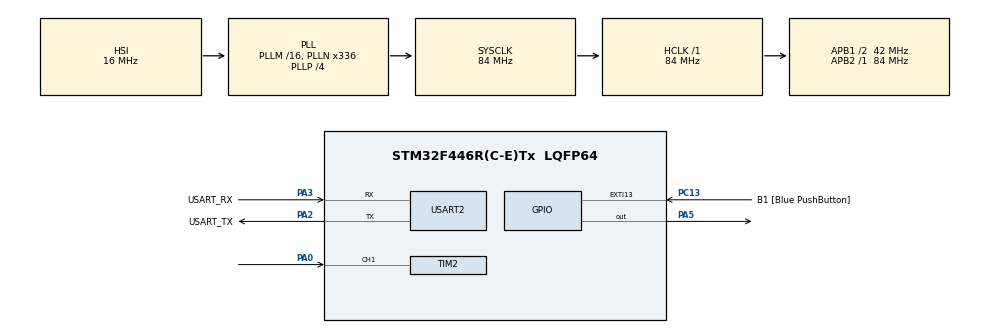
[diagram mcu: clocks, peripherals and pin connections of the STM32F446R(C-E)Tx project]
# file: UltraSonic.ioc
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Mcu.Family=STM32F4
Mcu.Name=STM32F446R(C-E)Tx
Mcu.Package=LQFP64
NVIC.PriorityGroup=NVIC_PRIORITYGROUP_0
NVIC.TIM2_IRQn=true\:0\:0\:false\:false\:true\:true\:true\:true
PA0-WKUP.Signal=S_TIM2_CH1_ETR
PA13.GPIO_Label=TMS
PA13.Mode=Serial_Wire
PA13.Signal=SYS_JTMS-SWDIO
PA14.GPIO_Label=TCK
PA14.Mode=Serial_Wire
PA14.Signal=SYS_JTCK-SWCLK
PA2.GPIO_Label=USART_TX
PA2.Mode=Asynchronous
PA2.Signal=USART2_TX
PA3.GPIO_Label=USART_RX
PA3.Mode=Asynchronous
PA3.Signal=USART2_RX
PA5.Signal=GPIO_Output
PB3.GPIO_Label=SWO
PB3.Signal=SYS_JTDO-SWO
PC13.GPIO_Label=B1 [Blue PushButton]
PC13.GPIO_ModeDefaultEXTI=GPIO_MODE_IT_FALLING
PC13.Signal=GPXTI13
PC14-OSC32_IN.Mode=LSE-External-Oscillator
PC14-OSC32_IN.Signal=RCC_OSC32_IN
PC15-OSC32_OUT.Mode=LSE-External-Oscillator
PC15-OSC32_OUT.Signal=RCC_OSC32_OUT
PH0-OSC_IN.Mode=HSE-External-Oscillator
PH0-OSC_IN.Signal=RCC_OSC_IN
PH1-OSC_OUT.Mode=HSE-External-Oscillator
PH1-OSC_OUT.Signal=RCC_OSC_OUT
ProjectManager.HeapSize=0x200
ProjectManager.StackSize=0x400
ProjectManager.TargetToolchain=STM32CubeIDE
RCC.48MHZClocksFreq_Value=84000000
RCC.AHBFreq_Value=84000000
RCC.APB1CLKDivider=RCC_HCLK_DIV2
RCC.APB1Freq_Value=42000000
RCC.APB1TimFreq_Value=84000000
RCC.APB2Freq_Value=84000000
RCC.APB2TimFreq_Value=84000000
RCC.CortexFreq_Value=84000000
RCC.FLatency-AdvancedSettings=FLASH_LATENCY_2
RCC.HCLKFreq_Value=84000000
RCC.HSE_VALUE=8000000
RCC.HSI_VALUE=16000000
RCC.PLLN=336
RCC.PLLP=RCC_PLLP_DIV4
RCC.SYSCLKFreq_VALUE=84000000
RCC.SYSCLKSource=RCC_SYSCLKSOURCE_PLLCLK
RCC.USBFreq_Value=168000000
RCC.VCOOutputFreq_Value=336000000
SH.S_TIM2_CH1_ETR.0=TIM2_CH1,Input_Capture1_from_TI1
TIM2.Channel-Input_Capture1_from_TI1=TIM_CHANNEL_1
TIM2.ICPolarity_CH1=TIM_INPUTCHANNELPOLARITY_BOTHEDGE
TIM2.Period=65535
TIM2.Prescaler=84-1
USART2.VirtualMode=VM_ASYNC
VP_TIM2_VS_ClockSourceINT.Mode=Internal
board=NUCLEO-F446RE

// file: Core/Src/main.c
/* USER CODE BEGIN Header */
/**
  ******************************************************************************
  * @file           : main.c
  * @brief          : Main program body
  ******************************************************************************
  * @attention
  *
  * Copyright (c) 2025 STMicroelectronics.
  * All rights reserved.
  *
  * This software is licensed under terms that can be found in the LICENSE file
  * in the root directory of this software component.
  * If no LICENSE file comes with this software, it is provided AS-IS.
  *
  ******************************************************************************
  */
/* USER CODE END Header */
#include "main.h"

/* USER CODE BEGIN Includes */
#include <string.h>
#include <stdio.h>
/* USER CODE END Includes */

TIM_HandleTypeDef htim2;

UART_HandleTypeDef huart2;

void SystemClock_Config(void);
static void MX_GPIO_Init(void);
static void MX_USART2_UART_Init(void);
static void MX_TIM2_Init(void);
/* USER CODE BEGIN PFP */
void UART_Send_Distance(uint8_t sensorIndex, uint16_t distance);
/* USER CODE END PFP */

/* USER CODE BEGIN 0 */
#define NUM_OF_ULTRASONIC 1

typedef enum {
    READY_TO_TRIGGER,
    WAITING_FOR_THE_PULSE,
    READY_TO_CALCULATE
} ULTRASONIC_State_t;

typedef enum {
    ULTRASONIC_0 = 0
} ULTRASONIC_Num_t;

uint32_t t1[NUM_OF_ULTRASONIC], t2[NUM_OF_ULTRASONIC];
uint16_t ultrasonicReadings[NUM_OF_ULTRASONIC];
uint8_t isFirstCapture[NUM_OF_ULTRASONIC] = {0};

ULTRASONIC_State_t ultrasonicState = READY_TO_TRIGGER;
ULTRASONIC_Num_t ultrasonicNum = ULTRASONIC_0;

// Pins: TRIG = PA5, ECHO = PA0
GPIO_TypeDef* TRIG_PORTS[NUM_OF_ULTRASONIC] = {GPIOA};
uint16_t TRIG_PINS[NUM_OF_ULTRASONIC] = {GPIO_PIN_5};

void triggerUltrasonic(ULTRASONIC_Num_t num) {
    HAL_GPIO_WritePin(TRIG_PORTS[num], TRIG_PINS[num], GPIO_PIN_SET);
    HAL_Delay(1); // 10 µs pulse
    HAL_GPIO_WritePin(TRIG_PORTS[num], TRIG_PINS[num], GPIO_PIN_RESET);

    //HAL_UART_Transmit(&huart2, (uint8_t *)"TRIG\r\n", 6, HAL_MAX_DELAY);
}

void HAL_TIM_IC_CaptureCallback(TIM_HandleTypeDef *htim) {
    if (htim->Channel == HAL_TIM_ACTIVE_CHANNEL_1) {
        //HAL_UART_Transmit(&huart2, (uint8_t *)"CAPTURE!\r\n", 10, HAL_MAX_DELAY);

        uint8_t current = ultrasonicNum;
        uint32_t value = HAL_TIM_ReadCapturedValue(htim, TIM_CHANNEL_1);

        if (!isFirstCapture[current]) {
            t1[current] = value;
            __HAL_TIM_SET_CAPTUREPOLARITY(htim, TIM_CHANNEL_1, TIM_INPUTCHANNELPOLARITY_FALLING);
            isFirstCapture[current] = 1;
        } else {
            t2[current] = value;
            __HAL_TIM_SET_CAPTUREPOLARITY(htim, TIM_CHANNEL_1, TIM_INPUTCHANNELPOLARITY_RISING);
            HAL_TIM_IC_Stop_IT(htim, TIM_CHANNEL_1);
            ultrasonicState = READY_TO_CALCULATE;
            isFirstCapture[current] = 0;
        }
    }
}

void UART_Send_Distance(uint8_t sensorIndex, uint16_t distance) {
    char msg[50];
    int len = sprintf(msg, "Sensor %d: %d cm\r\n", sensorIndex + 1, distance);
    HAL_UART_Transmit(&huart2, (uint8_t*)msg, len, HAL_MAX_DELAY);
}

void ULTRASONIC_Runnable(void) {
    switch (ultrasonicState) {
        case READY_TO_TRIGGER:
            triggerUltrasonic(ultrasonicNum);
            __HAL_TIM_SET_COUNTER(&htim2, 0);
            HAL_TIM_IC_Start_IT(&htim2, TIM_CHANNEL_1);
            ultrasonicState = WAITING_FOR_THE_PULSE;
            break;

        case WAITING_FOR_THE_PULSE:
            // Waiting for echo
            break;

        case READY_TO_CALCULATE: {
            uint32_t delta = (t2[ultrasonicNum] >= t1[ultrasonicNum]) ?
                (t2[ultrasonicNum] - t1[ultrasonicNum]) :
                (0xFFFF - t1[ultrasonicNum] + t2[ultrasonicNum]);

            ultrasonicReadings[ultrasonicNum] = (delta < 23200) ? (delta / 58) : 0;

            char debug_msg[50];
            sprintf(debug_msg, "Delta = %lu, Distance = %d\r\n", delta, ultrasonicReadings[ultrasonicNum]);
            HAL_UART_Transmit(&huart2, (uint8_t *)debug_msg, strlen(debug_msg), HAL_MAX_DELAY);

            UART_Send_Distance(ultrasonicNum, ultrasonicReadings[ultrasonicNum]);
            ultrasonicNum = ULTRASONIC_0;
            ultrasonicState = READY_TO_TRIGGER;
            break;
        }
    }
}
/* USER CODE END 0 */

int main(void)
{

  /* MCU Configuration--------------------------------------------------------*/

  /* Reset of all peripherals, Initializes the Flash interface and the Systick. */
  HAL_Init();

  /* Configure the system clock */
  SystemClock_Config();

  /* Initialize all configured peripherals */
  MX_GPIO_Init();
  MX_USART2_UART_Init();
  MX_TIM2_Init();
  /* USER CODE BEGIN 2 */
  HAL_UART_Transmit(&huart2, (uint8_t *)"UART Started. Waiting for ultrasonic...\r\n", 41, HAL_MAX_DELAY);
  /* USER CODE END 2 */

  /* Infinite loop */
  /* USER CODE BEGIN WHILE */
  while (1)
  {
	  ULTRASONIC_Runnable();
	  HAL_Delay(2000);
    /* USER CODE END WHILE */

  }
}

void SystemClock_Config(void)
{
  RCC_OscInitTypeDef RCC_OscInitStruct = {0};
  RCC_ClkInitTypeDef RCC_ClkInitStruct = {0};

  /** Configure the main internal regulator output voltage
  */
  __HAL_RCC_PWR_CLK_ENABLE();
  __HAL_PWR_VOLTAGESCALING_CONFIG(PWR_REGULATOR_VOLTAGE_SCALE3);

  /** Initializes the RCC Oscillators according to the specified parameters
  * in the RCC_OscInitTypeDef structure.
  */
  RCC_OscInitStruct.OscillatorType = RCC_OSCILLATORTYPE_HSI;
  RCC_OscInitStruct.HSIState = RCC_HSI_ON;
  RCC_OscInitStruct.HSICalibrationValue = RCC_HSICALIBRATION_DEFAULT;
  RCC_OscInitStruct.PLL.PLLState = RCC_PLL_ON;
  RCC_OscInitStruct.PLL.PLLSource = RCC_PLLSOURCE_HSI;
  RCC_OscInitStruct.PLL.PLLM = 16;
  RCC_OscInitStruct.PLL.PLLN = 336;
  RCC_OscInitStruct.PLL.PLLP = RCC_PLLP_DIV4;
  RCC_OscInitStruct.PLL.PLLQ = 2;
  RCC_OscInitStruct.PLL.PLLR = 2;
  if (HAL_RCC_OscConfig(&RCC_OscInitStruct) != HAL_OK)
  {
    Error_Handler();
  }

  /** Initializes the CPU, AHB and APB buses clocks
  */
  RCC_ClkInitStruct.ClockType = RCC_CLOCKTYPE_HCLK|RCC_CLOCKTYPE_SYSCLK
                              |RCC_CLOCKTYPE_PCLK1|RCC_CLOCKTYPE_PCLK2;
  RCC_ClkInitStruct.SYSCLKSource = RCC_SYSCLKSOURCE_PLLCLK;
  RCC_ClkInitStruct.AHBCLKDivider = RCC_SYSCLK_DIV1;
  RCC_ClkInitStruct.APB1CLKDivider = RCC_HCLK_DIV2;
  RCC_ClkInitStruct.APB2CLKDivider = RCC_HCLK_DIV1;

  if (HAL_RCC_ClockConfig(&RCC_ClkInitStruct, FLASH_LATENCY_2) != HAL_OK)
  {
    Error_Handler();
  }
}

static void MX_TIM2_Init(void)
{

  TIM_ClockConfigTypeDef sClockSourceConfig = {0};
  TIM_MasterConfigTypeDef sMasterConfig = {0};
  TIM_IC_InitTypeDef sConfigIC = {0};

  htim2.Instance = TIM2;
  htim2.Init.Prescaler = 84-1;
  htim2.Init.CounterMode = TIM_COUNTERMODE_UP;
  htim2.Init.Period = 65535;
  htim2.Init.ClockDivision = TIM_CLOCKDIVISION_DIV1;
  htim2.Init.AutoReloadPreload = TIM_AUTORELOAD_PRELOAD_DISABLE;
  if (HAL_TIM_Base_Init(&htim2) != HAL_OK)
  {
    Error_Handler();
  }
  sClockSourceConfig.ClockSource = TIM_CLOCKSOURCE_INTERNAL;
  if (HAL_TIM_ConfigClockSource(&htim2, &sClockSourceConfig) != HAL_OK)
  {
    Error_Handler();
  }
  if (HAL_TIM_IC_Init(&htim2) != HAL_OK)
  {
    Error_Handler();
  }
  sMasterConfig.MasterOutputTrigger = TIM_TRGO_RESET;
  sMasterConfig.MasterSlaveMode = TIM_MASTERSLAVEMODE_DISABLE;
  if (HAL_TIMEx_MasterConfigSynchronization(&htim2, &sMasterConfig) != HAL_OK)
  {
    Error_Handler();
  }
  sConfigIC.ICPolarity = TIM_INPUTCHANNELPOLARITY_BOTHEDGE;
  sConfigIC.ICSelection = TIM_ICSELECTION_DIRECTTI;
  sConfigIC.ICPrescaler = TIM_ICPSC_DIV1;
  sConfigIC.ICFilter = 0;
  if (HAL_TIM_IC_ConfigChannel(&htim2, &sConfigIC, TIM_CHANNEL_1) != HAL_OK)
  {
    Error_Handler();
  }

}

static void MX_USART2_UART_Init(void)
{

  huart2.Instance = USART2;
  huart2.Init.BaudRate = 115200;
  huart2.Init.WordLength = UART_WORDLENGTH_8B;
  huart2.Init.StopBits = UART_STOPBITS_1;
  huart2.Init.Parity = UART_PARITY_NONE;
  huart2.Init.Mode = UART_MODE_TX_RX;
  huart2.Init.HwFlowCtl = UART_HWCONTROL_NONE;
  huart2.Init.OverSampling = UART_OVERSAMPLING_16;
  if (HAL_UART_Init(&huart2) != HAL_OK)
  {
    Error_Handler();
  }

}

static void MX_GPIO_Init(void)
{
  GPIO_InitTypeDef GPIO_InitStruct = {0};

  /* GPIO Ports Clock Enable */
  __HAL_RCC_GPIOC_CLK_ENABLE();
  __HAL_RCC_GPIOH_CLK_ENABLE();
  __HAL_RCC_GPIOA_CLK_ENABLE();
  __HAL_RCC_GPIOB_CLK_ENABLE();

  /*Configure GPIO pin Output Level */
  HAL_GPIO_WritePin(GPIOA, GPIO_PIN_5, GPIO_PIN_RESET);

  /*Configure GPIO pin : B1_Pin */
  GPIO_InitStruct.Pin = B1_Pin;
  GPIO_InitStruct.Mode = GPIO_MODE_IT_FALLING;
  GPIO_InitStruct.Pull = GPIO_NOPULL;
  HAL_GPIO_Init(B1_GPIO_Port, &GPIO_InitStruct);

  /*Configure GPIO pin : PA5 */
  GPIO_InitStruct.Pin = GPIO_PIN_5;
  GPIO_InitStruct.Mode = GPIO_MODE_OUTPUT_PP;
  GPIO_InitStruct.Pull = GPIO_NOPULL;
  GPIO_InitStruct.Speed = GPIO_SPEED_FREQ_LOW;
  HAL_GPIO_Init(GPIOA, &GPIO_InitStruct);

}

void Error_Handler(void)
{
  __disable_irq();
  while (1)
  {
  }
}
